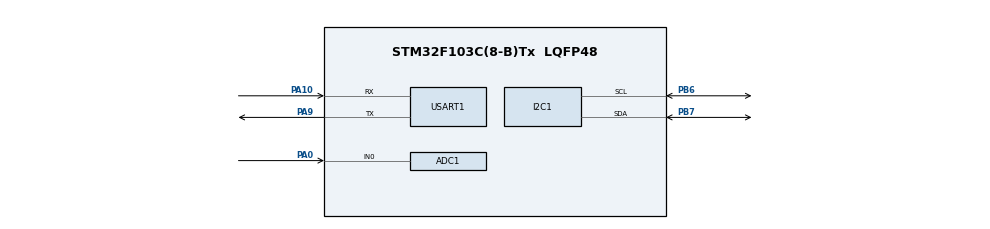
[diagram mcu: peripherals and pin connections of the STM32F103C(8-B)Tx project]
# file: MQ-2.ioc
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ADC1.Channel-2\#ChannelRegularConversion=ADC_CHANNEL_0
ADC1.EnableAnalogWatchDog=false
ADC1.NbrOfConversionFlag=1
ADC1.Rank-2\#ChannelRegularConversion=1
ADC1.SamplingTime-2\#ChannelRegularConversion=ADC_SAMPLETIME_1CYCLE_5
ADC1.master=1
Mcu.Family=STM32F1
Mcu.Name=STM32F103C(8-B)Tx
Mcu.Package=LQFP48
NVIC.PriorityGroup=NVIC_PRIORITYGROUP_4
NVIC.USART1_IRQn=true\:0\:0\:false\:false\:true\:true\:true\:true
PA0-WKUP.Signal=ADCx_IN0
PA10.Mode=Asynchronous
PA10.Signal=USART1_RX
PA13.Mode=Serial_Wire
PA13.Signal=SYS_JTMS-SWDIO
PA14.Mode=Serial_Wire
PA14.Signal=SYS_JTCK-SWCLK
PA9.Mode=Asynchronous
PA9.Signal=USART1_TX
PB6.Mode=I2C
PB6.Signal=I2C1_SCL
PB7.Mode=I2C
PB7.Signal=I2C1_SDA
ProjectManager.HeapSize=0x200
ProjectManager.StackSize=0x400
ProjectManager.TargetToolchain=STM32CubeIDE
RCC.APB1Freq_Value=8000000
RCC.APB2Freq_Value=8000000
SH.ADCx_IN0.0=ADC1_IN0,IN0
USART1.VirtualMode=VM_ASYNC
board=custom

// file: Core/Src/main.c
/* USER CODE BEGIN Header */
/**
  ******************************************************************************
  * @file           : main.c
  * @brief          : Main program body
  ******************************************************************************
  * @attention
  *
  * Copyright (c) 2022 STMicroelectronics.
  * All rights reserved.
  *
  * This software is licensed under terms that can be found in the LICENSE file
  * in the root directory of this software component.
  * If no LICENSE file comes with this software, it is provided AS-IS.
  *
  ******************************************************************************
  */
/* USER CODE END Header */
#include "main.h"

/* USER CODE BEGIN Includes */
#include "string.h"
#include "math.h"
#include "stdlib.h"
#include "ssd1306.h"
#include "ssd1306_fonts.h"

/* USER CODE END Includes */

 ADC_HandleTypeDef hadc1;

I2C_HandleTypeDef hi2c1;

UART_HandleTypeDef huart1;

void SystemClock_Config(void);
static void MX_GPIO_Init(void);
static void MX_USART1_UART_Init(void);
static void MX_ADC1_Init(void);
static void MX_I2C1_Init(void);

/* USER CODE BEGIN 0 */
uint16_t AnalogRead_ADC1() {
	uint16_t adc = 0;
	HAL_ADC_Start(&hadc1); // запускаем преобразование сигнала АЦП
	HAL_ADC_PollForConversion(&hadc1, 100); // ожидаем окончания преобразования
	adc = HAL_ADC_GetValue(&hadc1); // читаем полученное значение в переменную adc
	HAL_ADC_Stop(&hadc1); // останавливаем АЦП (не обязательно)
	return adc;
	// не забыть откалибровать ADC перед циклом
}

float calculate_R0(){
  float sensor_volt;
  float RS_air;
  float R0;
  float sensor_value;
  float pot = 2.5;
  uint16_t averageDivider = 500; //тут лучше сделать 500, чтобы было точнее, пока 200 для проверки
  for (int i = 0; i < averageDivider; i++) {
    sensor_value += AnalogRead_ADC1();
  }
  sensor_value = (float)sensor_value/averageDivider; //считаем среднее
  sensor_volt = sensor_value*(5.0/4095.0); //переводим в напряжение
  RS_air = ((5.0*pot)/sensor_volt)-pot;
  R0 = RS_air/9.5;

  return R0;
}

double get_alcohol_ppm(float calculated_R0) {
  float m = -0.360;
  float b = 1.29;
  float pot = 2.5;
  float r0 = calculated_R0;

  float sensor_value = AnalogRead_ADC1(); //считываем значение
  float sensor_volt = sensor_value*(5.0/4095.0); //переводим в напряжение
  float RS_gas = ((5.0*pot)/sensor_volt)-pot; //рассчитываем сопротивление сенсора

  double res = pow(10, ((log10(RS_gas/r0)-b)/m));
  if (res < 10000) {return res;} else {return 0;};
}

/* USER CODE END 0 */

int main(void)
{

  /* MCU Configuration--------------------------------------------------------*/

  /* Reset of all peripherals, Initializes the Flash interface and the Systick. */
  HAL_Init();

  /* Configure the system clock */
  SystemClock_Config();

  /* Initialize all configured peripherals */
  MX_GPIO_Init();
  MX_USART1_UART_Init();
  MX_ADC1_Init();
  MX_I2C1_Init();
  /* USER CODE BEGIN 2 */

  ssd1306_Init();
  HAL_ADCEx_Calibration_Start(&hadc1); // калибровка ADC

  float r0 = calculate_R0();;
  double ppm;
  float disp;
  char buff[32];

  /* USER CODE END 2 */

  /* Infinite loop */
  /* USER CODE BEGIN WHILE */
  while (1)
  {
    ppm = get_alcohol_ppm(r0);

    sprintf(buff, "Alcohol PPM = %.3f\n", ppm);
    HAL_UART_Transmit(&huart1, (uint8_t*)buff, strlen(buff), 500);
    ssd1306_SetCursor(0, 0);
    ssd1306_WriteString("Alcohol", Font_11x18, White);
    ssd1306_SetCursor(0, 18);
    ssd1306_WriteString("level:", Font_11x18, White);
    ssd1306_SetCursor(6, 36);
    if (ppm > 1000) {
      disp = ppm/1000;
      for (uint8_t i = 0; i < disp; i++) {
        ssd1306_WriteChar('|', Font_11x18, White);
      };
    }
    else {
      disp = ppm/100;
      for (uint8_t i = 0; i < disp; i++) {
        ssd1306_WriteChar('*', Font_11x18, White);
      };
    }
    ssd1306_UpdateScreen();
    HAL_Delay(100);
    ssd1306_Fill(Black);

    /* USER CODE END WHILE */

  }
}

void SystemClock_Config(void)
{
  RCC_OscInitTypeDef RCC_OscInitStruct = {0};
  RCC_ClkInitTypeDef RCC_ClkInitStruct = {0};
  RCC_PeriphCLKInitTypeDef PeriphClkInit = {0};

  /** Initializes the RCC Oscillators according to the specified parameters
  * in the RCC_OscInitTypeDef structure.
  */
  RCC_OscInitStruct.OscillatorType = RCC_OSCILLATORTYPE_HSI;
  RCC_OscInitStruct.HSIState = RCC_HSI_ON;
  RCC_OscInitStruct.HSICalibrationValue = RCC_HSICALIBRATION_DEFAULT;
  RCC_OscInitStruct.PLL.PLLState = RCC_PLL_NONE;
  if (HAL_RCC_OscConfig(&RCC_OscInitStruct) != HAL_OK)
  {
    Error_Handler();
  }

  /** Initializes the CPU, AHB and APB buses clocks
  */
  RCC_ClkInitStruct.ClockType = RCC_CLOCKTYPE_HCLK|RCC_CLOCKTYPE_SYSCLK
                              |RCC_CLOCKTYPE_PCLK1|RCC_CLOCKTYPE_PCLK2;
  RCC_ClkInitStruct.SYSCLKSource = RCC_SYSCLKSOURCE_HSI;
  RCC_ClkInitStruct.AHBCLKDivider = RCC_SYSCLK_DIV1;
  RCC_ClkInitStruct.APB1CLKDivider = RCC_HCLK_DIV1;
  RCC_ClkInitStruct.APB2CLKDivider = RCC_HCLK_DIV1;

  if (HAL_RCC_ClockConfig(&RCC_ClkInitStruct, FLASH_LATENCY_0) != HAL_OK)
  {
    Error_Handler();
  }
  PeriphClkInit.PeriphClockSelection = RCC_PERIPHCLK_ADC;
  PeriphClkInit.AdcClockSelection = RCC_ADCPCLK2_DIV2;
  if (HAL_RCCEx_PeriphCLKConfig(&PeriphClkInit) != HAL_OK)
  {
    Error_Handler();
  }
}

static void MX_ADC1_Init(void)
{

  ADC_ChannelConfTypeDef sConfig = {0};

  /** Common config
  */
  hadc1.Instance = ADC1;
  hadc1.Init.ScanConvMode = ADC_SCAN_DISABLE;
  hadc1.Init.ContinuousConvMode = DISABLE;
  hadc1.Init.DiscontinuousConvMode = DISABLE;
  hadc1.Init.ExternalTrigConv = ADC_SOFTWARE_START;
  hadc1.Init.DataAlign = ADC_DATAALIGN_RIGHT;
  hadc1.Init.NbrOfConversion = 1;
  if (HAL_ADC_Init(&hadc1) != HAL_OK)
  {
    Error_Handler();
  }

  /** Configure Regular Channel
  */
  sConfig.Channel = ADC_CHANNEL_0;
  sConfig.Rank = ADC_REGULAR_RANK_1;
  sConfig.SamplingTime = ADC_SAMPLETIME_1CYCLE_5;
  if (HAL_ADC_ConfigChannel(&hadc1, &sConfig) != HAL_OK)
  {
    Error_Handler();
  }

}

static void MX_I2C1_Init(void)
{

  hi2c1.Instance = I2C1;
  hi2c1.Init.ClockSpeed = 100000;
  hi2c1.Init.DutyCycle = I2C_DUTYCYCLE_2;
  hi2c1.Init.OwnAddress1 = 0;
  hi2c1.Init.AddressingMode = I2C_ADDRESSINGMODE_7BIT;
  hi2c1.Init.DualAddressMode = I2C_DUALADDRESS_DISABLE;
  hi2c1.Init.OwnAddress2 = 0;
  hi2c1.Init.GeneralCallMode = I2C_GENERALCALL_DISABLE;
  hi2c1.Init.NoStretchMode = I2C_NOSTRETCH_DISABLE;
  if (HAL_I2C_Init(&hi2c1) != HAL_OK)
  {
    Error_Handler();
  }

}

static void MX_USART1_UART_Init(void)
{

  huart1.Instance = USART1;
  huart1.Init.BaudRate = 115200;
  huart1.Init.WordLength = UART_WORDLENGTH_8B;
  huart1.Init.StopBits = UART_STOPBITS_1;
  huart1.Init.Parity = UART_PARITY_NONE;
  huart1.Init.Mode = UART_MODE_TX_RX;
  huart1.Init.HwFlowCtl = UART_HWCONTROL_NONE;
  huart1.Init.OverSampling = UART_OVERSAMPLING_16;
  if (HAL_UART_Init(&huart1) != HAL_OK)
  {
    Error_Handler();
  }

}

static void MX_GPIO_Init(void)
{

  /* GPIO Ports Clock Enable */
  __HAL_RCC_GPIOA_CLK_ENABLE();
  __HAL_RCC_GPIOB_CLK_ENABLE();

}

void Error_Handler(void)
{
  __disable_irq();
  while (1)
  {
  }
}
